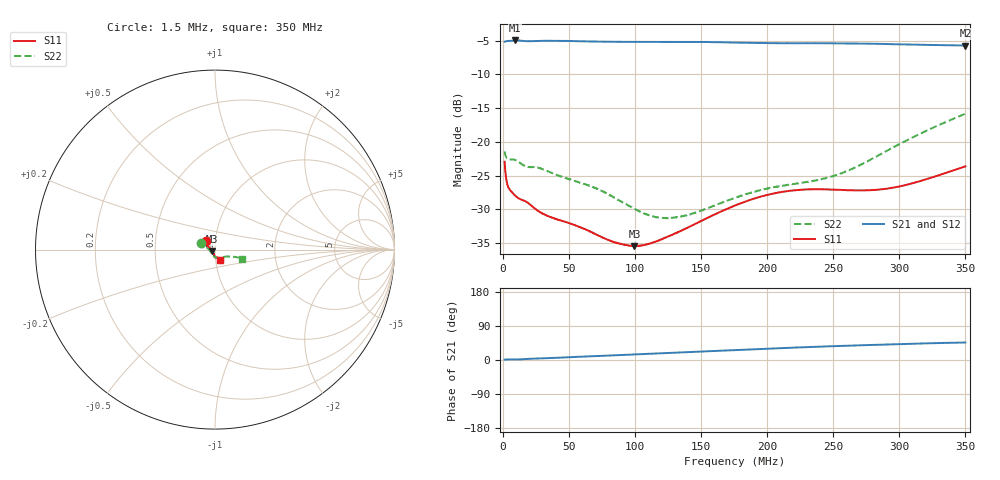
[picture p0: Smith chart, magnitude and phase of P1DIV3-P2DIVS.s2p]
# Hz S RI R 50
! RAW DATA - UNCALIBRATED
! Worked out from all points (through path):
!   1601 points, 1.5 MHz to 350 MHz, reference 50 ohm
!   highest |S21| = -4.99 dB at 9.341 MHz (marker M1); lowest = -5.7 dB at 350 MHz (marker M2)
!   lowest |S11| = -35.4 dB at 99.73 MHz (marker M3), VSWR 1.03, Z = 48.5 - j0.816 ohm
!   |S11| at or under -10 dB: start of sweep to end of sweep
!   |S22| runs from -31.3 to -15.8 dB; largest |S21 - S12| = 0.023
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1500000  -0.0508 0.0501  0.5514 0.0107  0.5496 0.00363  -0.0767 0.0365
3678125  -0.0418 0.0236  0.5574 0.0144  0.5579 0.0111  -0.0737 0.017
4549375  -0.041 0.0202  0.5576 0.0132  0.5582 0.00952  -0.0731 0.0149
9341250  -0.0376 0.0141  0.5629 0.014  0.5544 0.0138  -0.0721 0.0139
1.783594e7  -0.0342 0.0115  0.5559 0.0255  0.5569 0.0257  -0.0643 0.0133
3.11225e7  -0.028 0.00815  0.558 0.0424  0.5514 0.0439  -0.0605 0.0153
5.965594e7  -0.0231 0.00174  0.5482 0.085  0.5462 0.0879  -0.0484 0.0106
7.076438e7  -0.0207 -0.000368  0.5437 0.0996  0.5401 0.1017  -0.0443 0.00871
8.317969e7  -0.0179 -0.00357  0.5379 0.1169  0.5328 0.1199  -0.039 0.00568
9.973344e7  -0.0147 -0.0084  0.5312 0.1403  0.525 0.1462  -0.0319 -0.00133
1.086638e8  -0.0131 -0.0114  0.5276 0.1533  0.5204 0.1591  -0.0285 -0.00586
1.178119e8  -0.0118 -0.0144  0.5237 0.1657  0.516 0.1732  -0.0253 -0.0109
1.278312e8  -0.0103 -0.0177  0.5191 0.1804  0.5114 0.1894  -0.022 -0.0162
1.398109e8  -0.00833 -0.0216  0.5128 0.1973  0.5051 0.2075  -0.0181 -0.0223
1.7575e8  -0.00328 -0.0336  0.4877 0.2383  0.4796 0.2503  -0.00501 -0.0382
2.042834e8  -0.00158 -0.0414  0.4643 0.2714  0.455 0.2838  0.00693 -0.0456
2.339059e8  -0.000412 -0.0446  0.4426 0.3044  0.4314 0.3185  0.0233 -0.0455
2.589544e8  0.00277 -0.0439  0.4243 0.3259  0.4132 0.3414  0.0433 -0.0415
2.774684e8  0.00722 -0.0433  0.4111 0.3389  0.3992 0.3539  0.0622 -0.0387
2.920619e8  0.0117 -0.0438  0.3995 0.3474  0.3868 0.3617  0.0788 -0.0379
3.134075e8  0.0186 -0.0469  0.382 0.359  0.3672 0.3739  0.1048 -0.0397
3.5e8  0.0296 -0.0589  0.3576 0.3727  0.3402 0.3866  0.1531 -0.0508
